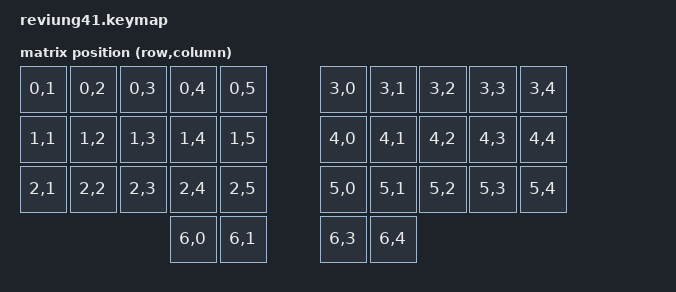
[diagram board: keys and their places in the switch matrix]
#include "standard-keymap.keymap"
#include <dt-bindings/zmk/matrix_transform.h>

/ {
    chosen {
        zmk,matrix_transform = &reviung41_transform;
    };
        
    reviung41_transform: reviung41_transform {
        compatible = "zmk,matrix-transform";
        columns = <6>;
        rows = <7>;

        map = <
            RC(0,1) RC(0,2) RC(0,3) RC(0,4) RC(0,5)         RC(3,0) RC(3,1) RC(3,2) RC(3,3) RC(3,4)
            RC(1,1) RC(1,2) RC(1,3) RC(1,4) RC(1,5)         RC(4,0) RC(4,1) RC(4,2) RC(4,3) RC(4,4)
            RC(2,1) RC(2,2) RC(2,3) RC(2,4) RC(2,5)         RC(5,0) RC(5,1) RC(5,2) RC(5,3) RC(5,4)
                                    RC(6,0) RC(6,1)         RC(6,3) RC(6,4)
        >;
    };
};

